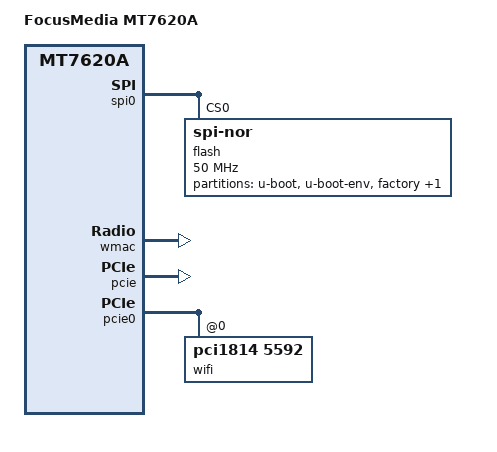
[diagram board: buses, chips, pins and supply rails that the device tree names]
#include "mt7620a.dtsi"

#include <dt-bindings/gpio/gpio.h>
#include <dt-bindings/input/input.h>

/ {
	compatible = "focusmedia,mt7620a", "ralink,mt7620a-soc";
	model = "FocusMedia MT7620A";
};

&spi0 {
	status = "okay";

	flash@0 {
		compatible = "jedec,spi-nor";
		reg = <0>;
		spi-max-frequency = <50000000>;
		m25p,fast-read;

		partitions {
			compatible = "fixed-partitions";
			#address-cells = <1>;
			#size-cells = <1>;

			partition@0 {
				label = "u-boot";
				reg = <0x0 0x30000>;
				read-only;
			};

			partition@30000 {
				label = "u-boot-env";
				reg = <0x30000 0x10000>;
				read-only;
			};

			factory: partition@40000 {
				label = "factory";
				reg = <0x40000 0x10000>;
				read-only;

				compatible = "nvmem-cells";
				#address-cells = <1>;
				#size-cells = <1>;

				macaddr_factory_28: macaddr@28 {
					reg = <0x28 0x6>;
				};
			};

			partition@50000 {
				compatible = "denx,uimage";
				label = "firmware";
				reg = <0x50000 0x7b0000>;
			};
		};
	};
};

&wmac {
	ralink,mtd-eeprom = <&factory 0x0>;
};

&ethernet {
	nvmem-cells = <&macaddr_factory_28>;
	nvmem-cell-names = "mac-address";

	mediatek,portmap = "lllll";
};

&pcie {
	status = "okay";
};

&pcie0 {
	wifi@0,0 {
		compatible = "pci1814,5592";
		reg = <0x0000 0 0 0 0>;
		ralink,2ghz = <0>;
		ralink,mtd-eeprom = <&factory 0x8000>;
	};
};
